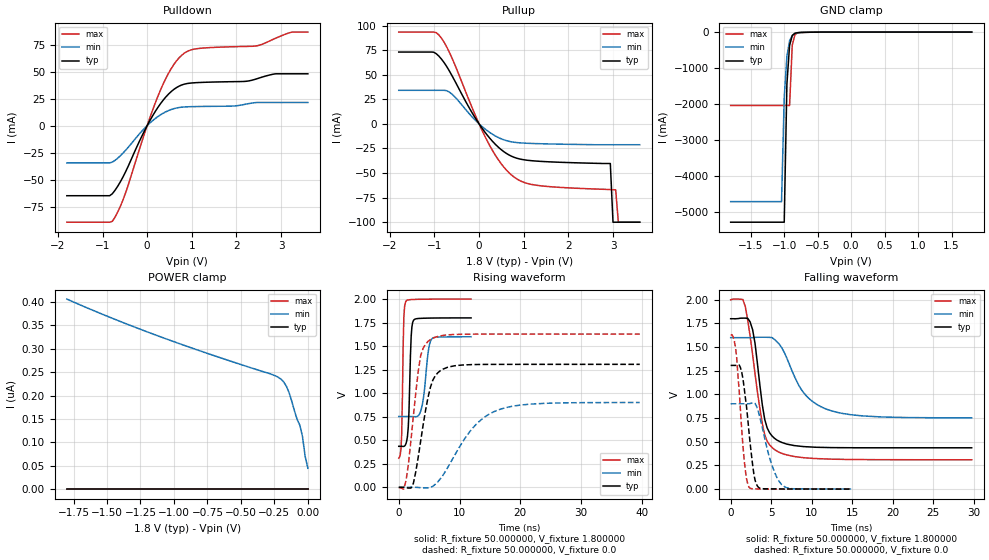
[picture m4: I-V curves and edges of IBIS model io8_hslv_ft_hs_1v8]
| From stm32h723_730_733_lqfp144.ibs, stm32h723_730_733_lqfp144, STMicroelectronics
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|   Model io8_hslv_ft_hs_1v8
[Model]  io8_hslv_ft_hs_1v8
Model_type I/O
Polarity   Non-Inverting
Enable   Active-Low
Vinl =   0.540000V
Vinh =   1.260000V
Vmeas =  0.900000V
Cref =   50.000000pF
Rref =   100.000000M
Vref =   0.0V
C_comp   3.178600pF   3.147500pF   3.264300pF
[Temperature Range]   25.000000   0.140000k   -40.000000
[Pullup Reference]   1.800000V   1.600000V   2.000000V
[Pulldown Reference]   0.0V   0.0V   0.0V
[POWER Clamp Reference]   1.800000V   1.600000V   2.000000V
[GND Clamp Reference]   0.0V   0.0V   0.0V
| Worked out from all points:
|   slope of the pulldown table from 0 to 0.27 V, typ, clamps not added: 14.5 ohm
|   slope of the pullup table from 0 to 0.27 V, typ, clamps not added: 16.7 ohm
|   GND clamp passes 1 mA (typ) near -0.49 V on its own axis
|   rising waveform, R_fixture 50.000000, V_fixture 1.800000: 20-80 % time 385ps typ, 835ps min, 276ps max; typ from 0.436 V to 1.8 V
|   rising waveform, R_fixture 50.000000, V_fixture 0.0: 20-80 % time 2.09ns typ, 5.84ns min, 1.65ns max; typ from 0 V to 1.31 V
|   falling waveform, R_fixture 50.000000, V_fixture 1.800000: 20-80 % time 1.27ns typ, 3.48ns min, 1.69ns max; typ from 1.8 V to 0.436 V
|   falling waveform, R_fixture 50.000000, V_fixture 0.0: 20-80 % time 1ns typ, 1.7ns min, 835ps max; typ from 1.31 V to 0 V
[Pulldown]
|Voltage   I(typ)   I(min)   I(max)
-1.8V     -64.86mA   -34.49mA   -89.34mA
-780mV    -63.02mA   -33.74mA   -88.51mA
-540mV    -47.38mA   -25.35mA   -68.57mA
-60mV     -4.803mA   -2.495mA   -7.416mA
300mV     20.37mA    10mA       33.08mA
540mV     31.54mA    14.9mA     52.85mA
780mV     37.68mA    17.08mA    65.31mA
1.14V     39.81mA    17.65mA    71.28mA
2.46V     43.34mA    21.39mA    73.82mA
2.88V     47.93mA    21.39mA    80.85mA
3.24V     47.93mA    21.39mA    86.46mA
3.6V      47.93mA    21.39mA    86.5mA
[Pullup]
|Voltage   I(typ)   I(min)   I(max)
-1.8V     73.1mA     34.18mA    93.4mA
-900mV    68.91mA    34.18mA    90.45mA
-600mV    48.49mA    29.98mA    66.23mA
180mV     -11.29mA   -6.83mA    -17.09mA
480mV     -25.63mA   -14.87mA   -39.62mA
780mV     -33.92mA   -18.65mA   -53.95mA
1.32V     -37.95mA   -20.11mA   -62.64mA
2.94V     -40.3mA    -21.2mA    -66.8mA
3V        -100mA     -21.2mA    -67mA
3.06V     -100mA     -21.2mA    -67mA
3.12V     -100mA     -21.2mA    -100mA
3.6V      -100mA     -21.2mA    -100mA
[GND_clamp]
|Voltage   I(typ)   I(min)   I(max)
-1.8V     -5.279A    -4.707A    -2.038A
-1.04V    -5.279A    -4.707A    -2.038A
-1V       -5.279A    -1.816A    -2.038A
-960mV    -1.443A    -671.6mA   -2.038A
-920mV    -368.1mA   -241.4mA   -2.038A
-880mV    -95.78mA   -89.36mA   -359.4mA
-840mV    -32.05mA   -36.9mA    -67.6mA
-800mV    -16.14mA   -18.39mA   -21.96mA
-760mV    -10.94mA   -11.34mA   -13.1mA
-520mV    -1.549mA   -2.045mA   -1.468mA
1.8V      0A         -17.59nA   0A
[POWER_clamp]
|Voltage   I(typ)   I(min)   I(max)
-1.8V     0A         406.5nA    0A
-1.46V    0A         365.4nA    0A
-1.12V    0A         327.8nA    0A
-220mV    0A         239.1nA    0A
-180mV    0A         229nA      0A
-160mV    0A         219.8nA    0A
-140mV    0A         206.2nA    0A
-80mV     0A         148.9nA    0A
-60mV     0A         136.9nA    0A
-40mV     0A         112.3nA    0A
-20mV     0A         69.79nA    0A
0V        0A         44.72nA    0A
[Ramp]
| variable   typ   min   max
dV/dt_r  0.78396/2.07527n   0.54061/5.83305n   0.97590/1.61079n
dV/dt_f  0.81858/1.24868n   0.50848/3.47241n   1.01521/1.67488n
R_load = 50.000000
[Rising Waveform]
R_fixture= 50.000000
V_fixture= 1.800000
V_fixture_min= 1.600000
V_fixture_max= 2.000000
|time   V(typ)   V(min)   V(max)
0s        435.7mV    752.2mV    309.3mV
480.5ps   435.3mV    752.2mV    551.6mV
840.8ps   434.8mV    752.2mV    1.811V
1.201ns   466.5mV    752.2mV    1.979V
1.562ns   634.9mV    752.3mV    1.991V
2.042ns   1.6V       752.1mV    1.995V
2.402ns   1.771V     751.3mV    1.996V
3.844ns   1.796V     867.9mV    1.998V
5.405ns   1.798V     1.576V     2V
11.89ns   1.8V       1.6V       2V
[Rising Waveform]
R_fixture= 50.000000
V_fixture= 0.0
V_fixture_min= 0.0
V_fixture_max= 0.0
|time   V(typ)   V(min)   V(max)
0s        -8.248uV   694.8nV    -1.502mV
800.8ps   -168.1uV   845.5nV    -19.78mV
1.201ns   -4.326mV   -995.2nV   70.57mV
2.402ns   41.66mV    120.5uV    756.1mV
3.604ns   490.7mV    -3.749mV   1.399V
5.205ns   1.062V     -2.277mV   1.569V
8.008ns   1.275V     205.6mV    1.619V
12.01ns   1.304V     617.7mV    1.627V
16.02ns   1.306V     813.4mV    1.628V
39.64ns   1.307V     901.2mV    1.628V
[Falling Waveform]
R_fixture= 50.000000
V_fixture= 1.800000
V_fixture_min= 1.600000
V_fixture_max= 2.000000
|time   V(typ)   V(min)   V(max)
0s        1.8V       1.6V       2V
1.502ns   1.806V     1.6V       2.004V
1.802ns   1.806V     1.6V       1.93V
2.402ns   1.766V     1.6V       1.616V
3.003ns   1.542V     1.603V     1.22V
4.204ns   734.5mV    1.604V     570.6mV
5.405ns   536mV      1.581V     417.4mV
9.009ns   448.3mV    1.017V     331mV
11.71ns   439.2mV    847.5mV    318.1mV
29.73ns   435.7mV    752.2mV    309.3mV
[Falling Waveform]
R_fixture= 50.000000
V_fixture= 0.0
V_fixture_min= 0.0
V_fixture_max= 0.0
|time   V(typ)   V(min)   V(max)
0s        1.307V     901.2mV    1.628V
600.6ps   1.306V     901.2mV    1.495V
1.351ns   1.239V     901.2mV    643.1mV
1.802ns   972.4mV    901.1mV    203.9mV
2.252ns   609.6mV    901.6mV    20.85mV
2.853ns   163.7mV    912.1mV    1.992mV
3.303ns   30.73mV    849mV      709.2uV
4.955ns   1.527mV    286.8mV    -617.4uV
6.306ns   730.1uV    45.07mV    -927.8uV
14.86ns   -8.248uV   694.8nV    -1.502mV
